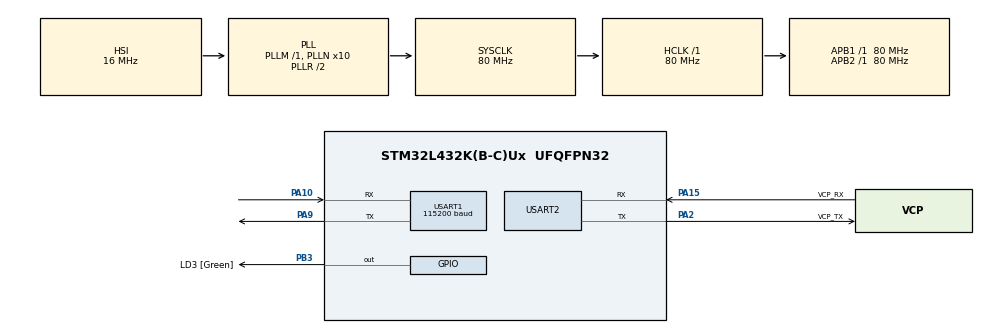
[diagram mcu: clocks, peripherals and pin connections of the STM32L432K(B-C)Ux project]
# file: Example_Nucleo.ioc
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Mcu.Family=STM32L4
Mcu.Name=STM32L432K(B-C)Ux
Mcu.Package=UFQFPN32
NVIC.PriorityGroup=NVIC_PRIORITYGROUP_4
PA0.GPIO_Label=MCO [High speed clock in]
PA0.Mode=HSE-External-Clock-Source-for-LittleOrca
PA0.Signal=RCC_CK_IN
PA10.GPIO_PuPd=GPIO_PULLUP
PA10.Mode=Asynchronous
PA10.Signal=USART1_RX
PA13\ (JTMS-SWDIO).GPIO_Label=SWDIO
PA13\ (JTMS-SWDIO).Mode=Serial_Wire
PA13\ (JTMS-SWDIO).Signal=SYS_JTMS-SWDIO
PA14\ (JTCK-SWCLK).GPIO_Label=SWCLK
PA14\ (JTCK-SWCLK).Mode=Serial_Wire
PA14\ (JTCK-SWCLK).Signal=SYS_JTCK-SWCLK
PA15\ (JTDI).GPIO_Label=VCP_RX
PA15\ (JTDI).Mode=Asynchronous
PA15\ (JTDI).Signal=USART2_RX
PA2.GPIO_Label=VCP_TX
PA2.Mode=Asynchronous
PA2.Signal=USART2_TX
PA9.Mode=Asynchronous
PA9.Signal=USART1_TX
PB3\ (JTDO-TRACESWO).GPIO_Label=LD3 [Green]
PB3\ (JTDO-TRACESWO).Signal=GPIO_Output
PC14-OSC32_IN\ (PC14).Mode=LSE-External-Oscillator
PC14-OSC32_IN\ (PC14).Signal=RCC_OSC32_IN
PC15-OSC32_OUT\ (PC15).Mode=LSE-External-Oscillator
PC15-OSC32_OUT\ (PC15).Signal=RCC_OSC32_OUT
ProjectManager.HeapSize=0x200
ProjectManager.StackSize=0x400
ProjectManager.TargetToolchain=STM32CubeIDE
RCC.ADCFreq_Value=64000000
RCC.AHBFreq_Value=80000000
RCC.APB1Freq_Value=80000000
RCC.APB1TimFreq_Value=80000000
RCC.APB2Freq_Value=80000000
RCC.APB2TimFreq_Value=80000000
RCC.CortexFreq_Value=80000000
RCC.HCLKFreq_Value=80000000
RCC.HSE_VALUE=8000000
RCC.HSI16_VALUE=16000000
RCC.HSI48_VALUE=48000000
RCC.HSI_VALUE=16000000
RCC.MSI_VALUE=4000000
RCC.PLLMUL=RCC_PLLMUL_4
RCC.PLLN=10
RCC.PLLSourceVirtual=RCC_PLLSOURCE_HSI
RCC.SYSCLKFreq_VALUE=80000000
RCC.SYSCLKSource=RCC_SYSCLKSOURCE_PLLCLK
RCC.USBFreq_Value=64000000
RCC.VCOOutputFreq_Value=160000000
USART1.BaudRate=115200
USART1.OverrunDisableParam=ADVFEATURE_OVERRUN_ENABLE
USART1.Parity=PARITY_EVEN
USART1.VirtualMode-Asynchronous=VM_ASYNC
USART1.WordLength=WORDLENGTH_9B
USART2.VirtualMode-Asynchronous=VM_ASYNC
board=NUCLEO-L432KC

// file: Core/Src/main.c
/* USER CODE BEGIN Header */
/**
  ******************************************************************************
  * @file           : main.c
  * @brief          : Main program body
  ******************************************************************************
  * @attention
  *
  * Copyright (c) 2026 STMicroelectronics.
  * All rights reserved.
  *
  * This software is licensed under terms that can be found in the LICENSE file
  * in the root directory of this software component.
  * If no LICENSE file comes with this software, it is provided AS-IS.
  *
  ******************************************************************************
  */
/* USER CODE END Header */
#include "main.h"
#include "usart.h"
#include "gpio.h"

/* USER CODE BEGIN Includes */

#include <string.h>
#include <stdio.h>
#include <stdbool.h>

/* USER CODE END Includes */

/* USER CODE BEGIN PV */

extern UART_HandleTypeDef huart1; // Sensor-UART (zum Radar)
extern UART_HandleTypeDef huart2; // Debug-UART (zum PC)

#define BITFIELD_PDAT_DONE   0b00100100  // Bit2=PDAT, Bit5=DONE

#define RX_BUFFER_SIZE 512
uint8_t rx_buf[RX_BUFFER_SIZE];

/* USER CODE END PV */

void SystemClock_Config(void);

/* USER CODE BEGIN 0 */
static void Debug_Print(const char *s)
{
    HAL_UART_Transmit(&huart2, (uint8_t *)s, (uint16_t)strlen(s), 1000);
}

static HAL_StatusTypeDef Sensor_Send(const uint8_t *data, uint16_t len)
{
    return HAL_UART_Transmit(&huart1, (uint8_t *)data, len, 1000);
}

static HAL_StatusTypeDef Sensor_Recv(uint8_t *data, uint16_t len)
{
    return HAL_UART_Receive(&huart1, data, len, 1000);
}

const char *get_error_description(uint8_t error_code)
{
    switch (error_code)
    {
    case 0: return "OK, no error";
    case 1: return "Unknown command";
    case 2: return "Invalid parameter value";
    case 3: return "Invalid RPST version";
    case 4: return "UART error (parity, framing, noise)";
    case 5: return "No calibration values";
    case 6: return "Timeout";
    case 7: return "Application corrupt or not programmed";
    default: return "Unknown Error";
    }
}

bool read_message(char header[5], uint8_t *payload, uint32_t *payload_len, uint32_t max_payload)
{

	/*uint8_t b;
	    char buf[8];

	    while (1) {
	        if (Sensor_Recv(&b, 1) != HAL_OK) {
	            Debug_Print("no byte\r\n");
	            return false;
	        }
	        snprintf(buf, sizeof(buf), "%02X ", (unsigned int)b);
	        Debug_Print(buf);
	    }*/

	 uint8_t hdr[4];
	 uint8_t len_bytes[4];

	    // 4-Byte Header lesen
	    Sensor_Recv(hdr, 4);
/*	    {
	        Debug_Print("read_message: header recv failed\r\n");
	        return false;
	    }*/

	    header[0] = (char)hdr[0];
	    header[1] = (char)hdr[1];
	    header[2] = (char)hdr[2];
	    header[3] = (char)hdr[3];
	    header[4] = '\0';

	    // 4-Byte Länge lesen (Little Endian)
	    if (Sensor_Recv(len_bytes, 4) != HAL_OK)
	    {
	        //Debug_Print("read_message: length recv failed\r\n");
	        return false;
	    }

	    uint32_t len = (uint32_t)len_bytes[0]
	                 | ((uint32_t)len_bytes[1] << 8)
	                 | ((uint32_t)len_bytes[2] << 16)
	                 | ((uint32_t)len_bytes[3] << 24);

/*	    if (len > max_payload)
	    {
	        Debug_Print("read_message: payload too big\r\n");
	        return false;
	    }*/

	    if (len > 0)
	    {
	        if (Sensor_Recv(payload, (uint16_t)len) != HAL_OK)
	        {
	            Debug_Print("read_message: payload recv failed\r\n");
	            return false;
	        }
	    }

	    *payload_len = len;
	    return true;

   /* uint8_t hdr[4];
    uint8_t len_bytes[4];

    if (Sensor_Recv(hdr, 4) != HAL_OK)
        return false;

    header[0] = (char)hdr[0];
    header[1] = (char)hdr[1];
    header[2] = (char)hdr[2];
    header[3] = (char)hdr[3];
    header[4] = '\0';

    if (Sensor_Recv(len_bytes, 4) != HAL_OK)
        return false;

    uint32_t len = (uint32_t)len_bytes[0]
                 | ((uint32_t)len_bytes[1] << 8)
                 | ((uint32_t)len_bytes[2] << 16)
                 | ((uint32_t)len_bytes[3] << 24);

    if (len > max_payload)
        return false;

    if (len > 0)
        {
            if (Sensor_Recv(payload, (uint16_t)len) != HAL_OK)
                return false;
        }

        *payload_len = len;
        return true;*/
}

int send_command(const char *header, const uint8_t *payload, uint32_t payload_len)
{
    uint8_t hdr_len[9];
    uint8_t len_bytes[4];

    // 4-Byte Header
    hdr_len[0] = (uint8_t)header[0];
    hdr_len[1] = (uint8_t)header[1];
    hdr_len[2] = (uint8_t)header[2];
    hdr_len[3] = (uint8_t)header[3];

    // 4-Byte Länge (LE)
    len_bytes[0] = (uint8_t)(payload_len & 0xFF);
    len_bytes[1] = (uint8_t)((payload_len >> 8) & 0xFF);
    len_bytes[2] = (uint8_t)((payload_len >> 16) & 0xFF);
    len_bytes[3] = (uint8_t)((payload_len >> 24) & 0xFF);

    memcpy(&hdr_len[4], len_bytes, 4);
    hdr_len[8] = 0;

    Debug_Print("send INIT\r\n");

    if (Sensor_Send(hdr_len, 9) != HAL_OK)
            return -1;
    //Debug_Print("INIT header sent\r\n");

/*        if (payload_len > 0)
        {
            if (Sensor_Send(payload, (uint16_t)payload_len) != HAL_OK)
                return -1;
        }
    Debug_Print("INIT payload sent\r\n");*/

        // RESP lesen
        char resp_header[5];
        uint8_t resp_payload[8];
        uint32_t resp_len = 0;

        //HAL_Delay(10);
        if (!read_message(resp_header, resp_payload, &resp_len, sizeof(resp_payload))){
        	 Debug_Print("send_command: no RESP frame\r\n");
        	 return -1;
        }
        Debug_Print("got answer\r\n");

        if (strcmp(resp_header, "RESP") == 0 && resp_len >= 1)
            {
                uint8_t err = resp_payload[0];
                if (err != 0)
                {
                    char buf[80];
                    snprintf(buf, sizeof(buf), "ERROR: %u (%s)\r\n", err, get_error_description(err));
                    Debug_Print(buf);
                }
                return err;
            }

            return -1; // kein RESP
}

bool initialize_sensor(uint8_t baud_index)
{
	const uint32_t valid_baud[4] = {115200, 460800, 921600, 2000000};
	    if (baud_index > 3)
	        return false;

	    uint8_t payload = baud_index;
	    int err = send_command("INIT", &payload, 1);
	    if (err != 0)
	        return false;

	    //Debug_Print("OK: INIT sent\r\n");

    // VERS lesen
	    char hdr[5];
	       uint8_t pld[64];
	       uint32_t len = 0;

	       //if (read_message(hdr, pld, &len, sizeof(pld)))
	       read_message(hdr, pld, &len, sizeof(pld));
	       //{
	           if (strcmp(hdr, "VERS") == 0)
	           {
	               if (len < sizeof(pld))
	                   pld[len] = '\0';
	               char buf[80];
	               snprintf(buf, sizeof(buf), "FW: %s\r\n", (char *)pld);
	               Debug_Print(buf);
	           }
	           else
	           {
	               Debug_Print("Unexpected header instead of VERS\r\n");
	           }
	       //}

            huart1.Init.BaudRate = valid_baud[baud_index];
            if (HAL_UART_Init(&huart1) != HAL_OK)
                return false;

            char buf2[80];
            snprintf(buf2, sizeof(buf2), "OK: Baud=%lu\r\n", (unsigned long)valid_baud[baud_index]);
            Debug_Print(buf2);

            return true;
}

bool get_next_frame_pdat_done(uint8_t bit_field)
{
    bit_field &= 0b00100111; // Maske wie im Python-Code

    uint8_t payload = bit_field;
    if (send_command("GNFD", &payload, 1) < 0)
        return false;

    uint8_t received_mask = 0;
    uint32_t start = HAL_GetTick();

    while (received_mask != bit_field)
    {
        if ((HAL_GetTick() - start) > 1000)
        {
            Debug_Print("ERROR: Timeout waiting for PDAT/DONE\r\n");
            return false;
        }

        char hdr[5];
        uint8_t pld[RX_BUFFER_SIZE];
        uint32_t len = 0;

        if (!read_message(hdr, pld, &len, sizeof(pld)))
            continue;

        // PDAT
        if ((bit_field & 0x04) && (strcmp(hdr, "PDAT") == 0))
        {
            uint32_t idx = 0;
            while ((len - idx) >= 6)
            {
                float distance;
                uint16_t mag_raw;

                memcpy(&distance, &pld[idx], 4);
                memcpy(&mag_raw, &pld[idx + 4], 2);

                float magnitude = (float)mag_raw / 100.0f;

                char buf[80];
                snprintf(buf, sizeof(buf),
                         "PDAT: Dist=%.3f m, Mag=%.2f dB\r\n",
                         distance, magnitude);
                Debug_Print(buf);

                idx += 6;
            }

            received_mask |= 0x04;
        }
        // DONE
        else if ((bit_field & 0x20) && (strcmp(hdr, "DONE") == 0))
        {
            if (len >= 4)
            {
                uint32_t frame_number =
                    (uint32_t)pld[0]
                    | ((uint32_t)pld[1] << 8)
                    | ((uint32_t)pld[2] << 16)
                    | ((uint32_t)pld[3] << 24);

                char buf[64];
                snprintf(buf, sizeof(buf), "DONE: Frame=%lu\r\n",
                         (unsigned long)frame_number);
                Debug_Print(buf);
            }
            received_mask |= 0x20;
        }
    }

    return true;
}

void disconnect_sensor(void)
	{
	    (void)send_command("GBYE", NULL, 0);
	    Debug_Print("Sensor disconnected\r\n");
	}

/*void send_init_raw(void)
{
    uint8_t msg[] = {
        0x49, 0x4E, 0x49, 0x54,   // 'I','N','I','T'
        0x01, 0x00, 0x00, 0x00,   // length = 1
        0x00                      // payload: baud index 0 = 115200
    };
    Sensor_Send(msg, sizeof(msg));
    Debug_Print("INIT raw sent\r\n");
}
void vld1_minimal_test(void)
{
    // huart1 muss vorher auf die gleiche UART-Konfiguration wie das FTDI eingestellt sein
    // (z.B. 115200 Baud, 8N1 oder 8E1 – passend zum PC-Terminal)

    uint8_t init_msg[] = {
        0x49, 0x4E, 0x49, 0x54,   // 'I','N','I','T'
        0x01, 0x00, 0x00, 0x00,   // length = 1
        0x00                      // payload: baud index 0 = 115200
    };

    // INIT-Frame senden
    Sensor_Send(init_msg, sizeof(init_msg));
    Debug_Print("INIT raw sent\r\n");

    // Alle empfangenen Bytes auf UART2 als Hex ausgeben
    uint8_t b;
    char buf[16];

    while (1)
    {
        HAL_StatusTypeDef st = Sensor_Recv(&b, 1);
        if (st == HAL_OK)
        {
            snprintf(buf, sizeof(buf), "%02X ", (unsigned int)b);
            Debug_Print(buf);
        }
        else if (st == HAL_TIMEOUT)
        {
            Debug_Print("\r\nRX timeout\r\n");
        }
        else
        {
            Debug_Print("\r\nRX error\r\n");
        }
    }
}*/

/* USER CODE END 0 */

int main(void)
{

  /* MCU Configuration--------------------------------------------------------*/

  /* Reset of all peripherals, Initializes the Flash interface and the Systick. */
  HAL_Init();

  /* Configure the system clock */
  SystemClock_Config();

  /* Initialize all configured peripherals */
  MX_GPIO_Init();
  MX_USART2_UART_Init();
  MX_USART1_UART_Init();
  /* USER CODE BEGIN 2 */

  Debug_Print("Start...\r\n");

     if (!initialize_sensor(0)) // 3 -> 2 Mbaud
     {
         Debug_Print("INIT failed\r\n");
         //while (1) { HAL_Delay(500); }
     }

     Debug_Print("Press reset to stop\r\n");

  /* USER CODE END 2 */

  /* Infinite loop */
  /* USER CODE BEGIN WHILE */
  while (1)
  {

	  /*char hdr[5];
	      uint8_t pld[64];
	      uint32_t len = 0;

	      if (read_message(hdr, pld, &len, sizeof(pld)))
	      {
	          char buf[80];
	          snprintf(buf, sizeof(buf), "MSG: %s, len=%lu\r\n",
	                   hdr, (unsigned long)len);
	          Debug_Print(buf);
	      }
	      else
	      {
	          Debug_Print("read_message failed\r\n");
	      }

	      HAL_Delay(500);*/

	  //get_next_frame_pdat_done(BITFIELD_PDAT_DONE);
	  //HAL_Delay(00);

	  //HAL_UART_Transmit(&huart2, (uint8_t*)"TEST\r\n", 6, 1000);
	      //HAL_Delay(500);
    /* USER CODE END WHILE */

  }
}

void SystemClock_Config(void)
{
  RCC_OscInitTypeDef RCC_OscInitStruct = {0};
  RCC_ClkInitTypeDef RCC_ClkInitStruct = {0};

  /** Configure the main internal regulator output voltage
  */
  if (HAL_PWREx_ControlVoltageScaling(PWR_REGULATOR_VOLTAGE_SCALE1) != HAL_OK)
  {
    Error_Handler();
  }

  /** Initializes the RCC Oscillators according to the specified parameters
  * in the RCC_OscInitTypeDef structure.
  */
  RCC_OscInitStruct.OscillatorType = RCC_OSCILLATORTYPE_HSI;
  RCC_OscInitStruct.HSIState = RCC_HSI_ON;
  RCC_OscInitStruct.HSICalibrationValue = RCC_HSICALIBRATION_DEFAULT;
  RCC_OscInitStruct.PLL.PLLState = RCC_PLL_ON;
  RCC_OscInitStruct.PLL.PLLSource = RCC_PLLSOURCE_HSI;
  RCC_OscInitStruct.PLL.PLLM = 1;
  RCC_OscInitStruct.PLL.PLLN = 10;
  RCC_OscInitStruct.PLL.PLLP = RCC_PLLP_DIV7;
  RCC_OscInitStruct.PLL.PLLQ = RCC_PLLQ_DIV2;
  RCC_OscInitStruct.PLL.PLLR = RCC_PLLR_DIV2;
  if (HAL_RCC_OscConfig(&RCC_OscInitStruct) != HAL_OK)
  {
    Error_Handler();
  }

  /** Initializes the CPU, AHB and APB buses clocks
  */
  RCC_ClkInitStruct.ClockType = RCC_CLOCKTYPE_HCLK|RCC_CLOCKTYPE_SYSCLK
                              |RCC_CLOCKTYPE_PCLK1|RCC_CLOCKTYPE_PCLK2;
  RCC_ClkInitStruct.SYSCLKSource = RCC_SYSCLKSOURCE_PLLCLK;
  RCC_ClkInitStruct.AHBCLKDivider = RCC_SYSCLK_DIV1;
  RCC_ClkInitStruct.APB1CLKDivider = RCC_HCLK_DIV1;
  RCC_ClkInitStruct.APB2CLKDivider = RCC_HCLK_DIV1;

  if (HAL_RCC_ClockConfig(&RCC_ClkInitStruct, FLASH_LATENCY_4) != HAL_OK)
  {
    Error_Handler();
  }
}

void Error_Handler(void)
{
  __disable_irq();
  while (1)
  {
  }
}
